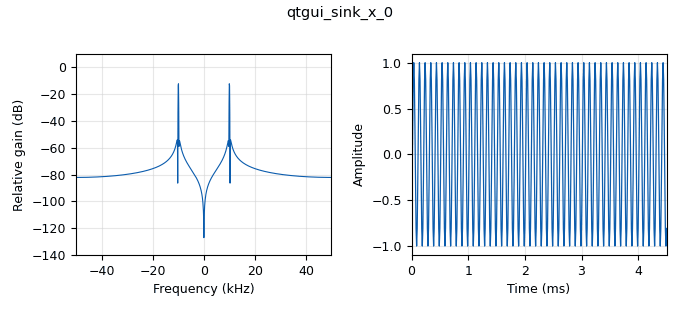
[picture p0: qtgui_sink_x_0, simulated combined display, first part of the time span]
options:
  parameters:
    author: brooks
    generate_options: qt_gui
    id: Signal_Exercise
    output_language: python
    title: First_Exercise
  states: {}

blocks:
- name: samp_rate
  id: variable
  parameters:
    value: 10e4
  states: {}
- name: analog_sig_source_x_0
  id: analog_sig_source_x
  parameters:
    amp: '1'
    freq: 1e4
    maxoutbuf: '1024'
    minoutbuf: '128'
    offset: '0'
    phase: '0'
    samp_rate: samp_rate
    type: float
    waveform: analog.GR_COS_WAVE
  states: {}
- name: blocks_throttle2_0
  id: blocks_throttle2
  parameters:
    samples_per_second: samp_rate
    type: float
  states: {}
- name: qtgui_sink_x_0
  id: qtgui_sink_x
  parameters:
    bw: samp_rate
    fc: '0'
    fftsize: '1024'
    type: float
    wintype: window.WIN_HAMMING
  states: {}

connections:
- [analog_sig_source_x_0, '0', blocks_throttle2_0, '0']
- [blocks_throttle2_0, '0', qtgui_sink_x_0, '0']

metadata:
  file_format: 1
  grc_version: 3.10.7.0
